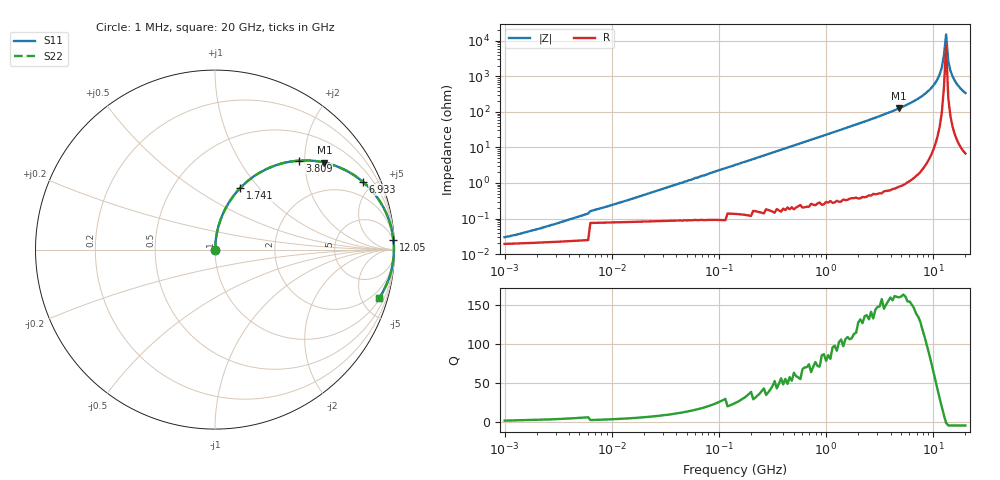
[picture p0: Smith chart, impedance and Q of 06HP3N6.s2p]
# MHz S MA R 50
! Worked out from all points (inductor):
!   216 points, 1 MHz to 20 GHz, reference 50 ohm
!   read as one part in series: L = 3.6 nH near 3.021 MHz
!   highest Q = 160 at 4.796 GHz (marker M1), where L = 4.16 nH
!   self-resonance near 12.62 GHz
!   S11 on the Smith chart (normalised r, x): 1 MHz: 1.00, +0.00; 1.741 GHz: 1.01, +0.80; 3.809 GHz: 1.01, +1.88; 6.933 GHz: 1.03, +4.35; 12.05 GHz: 3, +35; 20 GHz: 1.14, -6.80
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1  0.0004472 30.4  1 -0.0  1 -0.0  0.0004472 30.4
2.188  0.0006504 49.5  1 -0.0  1 -0.0  0.0006504 49.5
5.25  0.001282 67.8  1 -0.1  1 -0.1  0.001282 67.8
27.564  0.006271 83.2  0.999 -0.4  0.999 -0.4  0.006271 83.2
144.716  0.033 86.0  0.998 -1.9  0.998 -1.9  0.033 86.0
759.783  0.17 79.4  0.983 -9.8  0.983 -9.8  0.17 79.4
1740.909  0.371 67.7  0.925 -21.8  0.925 -21.8  0.371 67.7
3809.408  0.683 46.5  0.726 -43.1  0.726 -43.1  0.683 46.5
3988.984  0.703 45.0  0.707 -44.7  0.707 -44.7  0.703 45.0
4796.026  0.779 38.5  0.622 -51.2  0.622 -51.2  0.779 38.5
6932.978  0.906 24.6  0.416 -65.0  0.416 -65.0  0.906 24.6
8728.583  0.96 15.7  0.27 -73.7  0.27 -73.7  0.96 15.7
10022.09  0.981 10.3  0.179 -78.8  0.179 -78.8  0.981 10.3
10989.24  0.99 6.8  0.118 -81.8  0.118 -81.8  0.99 6.8
12049.73  0.995 3.2  0.056 -83.7  0.056 -83.7  0.995 3.2
12617.75  0.997 1.4  0.025 -81.4  0.025 -81.4  0.997 1.4
13212.56  0.997 -0.3  0.006608 59.9  0.006608 59.9  0.997 -0.3
13835.4  0.996 -2.1  0.037 82.5  0.037 82.5  0.996 -2.1
14487.6  0.994 -3.9  0.068 83.1  0.068 83.1  0.994 -3.9
15170.55  0.991 -5.7  0.099 82.1  0.099 82.1  0.991 -5.7
16634.54  0.983 -9.2  0.16 79.3  0.16 79.3  0.983 -9.2
20000  0.954 -16.3  0.281 72.6  0.281 72.6  0.954 -16.3
